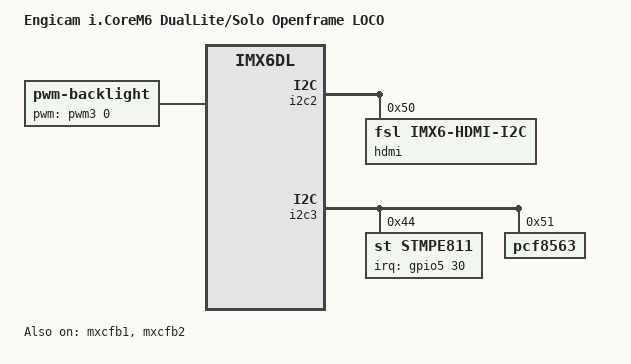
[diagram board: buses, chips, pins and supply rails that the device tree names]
/*
 * Copyright (C) 2013 Freescale Semiconductor, Inc.
 *
 * This program is free software; you can redistribute it and/or modify
 * it under the terms of the GNU General Public License version 2 as
 * published by the Free Software Foundation.
 */

/dts-v1/;

#include <dt-bindings/gpio/gpio.h>
#include "imx6dl.dtsi"
#include "imx6qdl-icore.dtsi"

/ {
	model = "Engicam i.CoreM6 DualLite/Solo Openframe LOCO";
	compatible = "fsl,imx6-icore", "fsl,imx6dl";
	
	backlight {
		compatible = "pwm-backlight";
		pwms = <&pwm3 0 3000000>;
		brightness-levels = <0 4 8 16 32 64 128 255>;
		default-brightness-level = <7>;
	};
};

&ldb {
	ipu_id = <0>;
	sec_ipu_id = <0>;
};

&mxcfb1 {
	status = "okay";
};

&mxcfb2 {
	status = "okay";
};

/* To be enabled for PCI peripheral.
   Please enable also the PCI support kernel options:
   CONFIG_PCI and PCI_IMX6
&pcie {
	status = "okay";
};
*/

&i2c1 {

};

&i2c2 {

	hdmi: edid@50 {
		compatible = "fsl,imx6-hdmi-i2c";
		reg = <0x50>;
	};

};


&i2c3 {

	stmpe811@44 {
		compatible = "st,stmpe811";
		#address-cells = <1>;
		#size-cells = <0>;
		#interrupt-cells = <2>;
		reg = <0x44>;
		pinctrl-names = "default";		
		pinctrl-0 = <&pinctrl_stmpe_ts>;		
		interrupts = <30 2>;
		interrupt-parent = <&gpio5>;

		stmpe_touchscreen {
			compatible = "st,stmpe-ts";
			st,sample-time = <4>;
			st,mod-12b = <1>;
			st,ref-sel = <0>;
			st,adc-freq = <1>;
			st,ave-ctrl = <1>;
			st,touch-det-delay = <2>;
			st,settling = <2>;
			st,fraction-z = <7>;
			st,i-drive = <1>;
		};
	};

	codec: sgtl5000@0a {
		compatible = "fsl,sgtl5000";
		reg = <0x0a>;
		clocks = <&clks 201>;
		VDDA-supply = <&reg_2p5v>;
		VDDIO-supply = <&reg_3p3v>;
		VDDD-supply = <&reg_1p8v>;
		status = "disabled";
	};

	pcf8563: rtc@51 {
		compatible = "pcf8563";
		reg = <0x51>;
	};
};

&iomuxc {
	touchpanel{
		pinctrl_stmpe_ts:  stmpe-tsgrp  {
			fsl,pins = <
				MX6QDL_PAD_CSI0_DAT12__GPIO5_IO30 0x1b0b0 /*interrupt*/ 
			>;
		};
	};
};
&iomuxc {
	pinctrl-names = "default";
	pinctrl-0 = <&pinctrl_hog2>;
	pinctrl-assert-gpios = <&gpio1 2 GPIO_ACTIVE_HIGH>;
	
	hog {
		pinctrl_hog2: hoggrp {
			fsl,pins = <
				MX6QDL_PAD_GPIO_2__GPIO1_IO02 0x1f059
				MX6QDL_PAD_EIM_D19__GPIO3_IO19 0x1f059 /* not used pin for ADV7180 driver compatibility */
			>;
		};
	};
};


